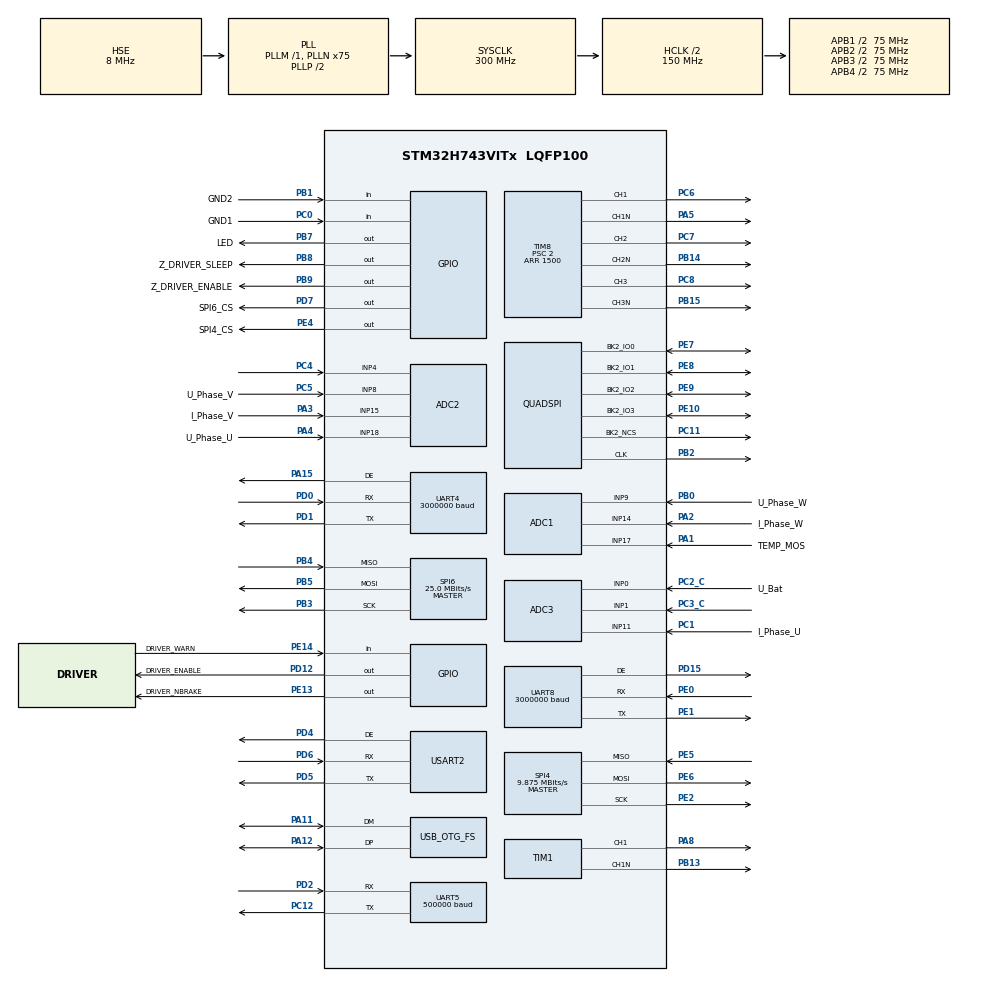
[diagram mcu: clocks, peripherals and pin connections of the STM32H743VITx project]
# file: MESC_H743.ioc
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ADC1.ClockPrescaler=ADC_CLOCK_ASYNC_DIV2
ADC1.ContinuousConvMode=DISABLE
ADC1.EnableInjectedConversion=ENABLE
ADC1.EnableRegularConversion=DISABLE
ADC1.ExternalTrigInjecConv=ADC_EXTERNALTRIGINJEC_T8_TRGO
ADC1.InjNumberOfConversion=3
ADC1.InjectedChannel-2\#ChannelInjectedConversion=ADC_CHANNEL_14
ADC1.InjectedChannel-6\#ChannelInjectedConversion=ADC_CHANNEL_9
ADC1.InjectedChannel-7\#ChannelInjectedConversion=ADC_CHANNEL_17
ADC1.InjectedOffsetNumber-2\#ChannelInjectedConversion=ADC_OFFSET_NONE
ADC1.InjectedOffsetNumber-6\#ChannelInjectedConversion=ADC_OFFSET_NONE
ADC1.InjectedOffsetNumber-7\#ChannelInjectedConversion=ADC_OFFSET_NONE
ADC1.InjectedOffsetSaturation-2\#ChannelInjectedConversion=DISABLE
ADC1.InjectedOffsetSaturation-6\#ChannelInjectedConversion=DISABLE
ADC1.InjectedOffsetSaturation-7\#ChannelInjectedConversion=DISABLE
ADC1.InjectedOffsetSignedSaturation-2\#ChannelInjectedConversion=DISABLE
ADC1.InjectedOffsetSignedSaturation-6\#ChannelInjectedConversion=DISABLE
ADC1.InjectedOffsetSignedSaturation-7\#ChannelInjectedConversion=DISABLE
ADC1.InjectedRank-2\#ChannelInjectedConversion=1
ADC1.InjectedRank-6\#ChannelInjectedConversion=2
ADC1.InjectedRank-7\#ChannelInjectedConversion=3
ADC1.InjectedSamplingTime-2\#ChannelInjectedConversion=ADC_SAMPLETIME_8CYCLES_5
ADC1.InjectedSamplingTime-6\#ChannelInjectedConversion=ADC_SAMPLETIME_8CYCLES_5
ADC1.InjectedSamplingTime-7\#ChannelInjectedConversion=ADC_SAMPLETIME_2CYCLES_5
ADC1.master=1
ADC2.ContinuousConvMode=DISABLE
ADC2.EnableInjectedConversion=ENABLE
ADC2.EnableRegularConversion=DISABLE
ADC2.ExternalTrigInjecConv=ADC_EXTERNALTRIGINJEC_T8_TRGO
ADC2.InjNumberOfConversion=3
ADC2.InjectedChannel-4\#ChannelInjectedConversion=ADC_CHANNEL_15
ADC2.InjectedChannel-5\#ChannelInjectedConversion=ADC_CHANNEL_8
ADC2.InjectedChannel-6\#ChannelInjectedConversion=ADC_CHANNEL_18
ADC2.InjectedOffsetNumber-4\#ChannelInjectedConversion=ADC_OFFSET_NONE
ADC2.InjectedOffsetNumber-5\#ChannelInjectedConversion=ADC_OFFSET_NONE
ADC2.InjectedOffsetNumber-6\#ChannelInjectedConversion=ADC_OFFSET_NONE
ADC2.InjectedOffsetSaturation-4\#ChannelInjectedConversion=DISABLE
ADC2.InjectedOffsetSaturation-5\#ChannelInjectedConversion=DISABLE
ADC2.InjectedOffsetSaturation-6\#ChannelInjectedConversion=DISABLE
ADC2.InjectedOffsetSignedSaturation-4\#ChannelInjectedConversion=DISABLE
ADC2.InjectedOffsetSignedSaturation-5\#ChannelInjectedConversion=DISABLE
ADC2.InjectedOffsetSignedSaturation-6\#ChannelInjectedConversion=DISABLE
ADC2.InjectedRank-4\#ChannelInjectedConversion=1
ADC2.InjectedRank-5\#ChannelInjectedConversion=2
ADC2.InjectedRank-6\#ChannelInjectedConversion=3
ADC2.InjectedSamplingTime-4\#ChannelInjectedConversion=ADC_SAMPLETIME_8CYCLES_5
ADC2.InjectedSamplingTime-5\#ChannelInjectedConversion=ADC_SAMPLETIME_8CYCLES_5
ADC2.InjectedSamplingTime-6\#ChannelInjectedConversion=ADC_SAMPLETIME_8CYCLES_5
ADC3.Channel-0\#ChannelRegularConversion=ADC_CHANNEL_0
ADC3.ClockPrescaler=ADC_CLOCK_ASYNC_DIV2
ADC3.EnableInjectedConversion=ENABLE
ADC3.ExternalTrigInjecConv=ADC_EXTERNALTRIGINJEC_T8_TRGO
ADC3.InjNumberOfConversion=2
ADC3.InjectedChannel-1\#ChannelInjectedConversion=ADC_CHANNEL_11
ADC3.InjectedChannel-2\#ChannelInjectedConversion=ADC_CHANNEL_0
ADC3.InjectedOffsetNumber-1\#ChannelInjectedConversion=ADC_OFFSET_NONE
ADC3.InjectedOffsetNumber-2\#ChannelInjectedConversion=ADC_OFFSET_NONE
ADC3.InjectedOffsetSaturation-1\#ChannelInjectedConversion=DISABLE
ADC3.InjectedOffsetSaturation-2\#ChannelInjectedConversion=DISABLE
ADC3.InjectedOffsetSignedSaturation-1\#ChannelInjectedConversion=DISABLE
ADC3.InjectedOffsetSignedSaturation-2\#ChannelInjectedConversion=DISABLE
ADC3.InjectedRank-1\#ChannelInjectedConversion=1
ADC3.InjectedRank-2\#ChannelInjectedConversion=2
ADC3.InjectedSamplingTime-1\#ChannelInjectedConversion=ADC_SAMPLETIME_8CYCLES_5
ADC3.InjectedSamplingTime-2\#ChannelInjectedConversion=ADC_SAMPLETIME_8CYCLES_5
ADC3.NbrOfConversionFlag=1
ADC3.OffsetNumber-0\#ChannelRegularConversion=ADC_OFFSET_NONE
ADC3.OffsetSignedSaturation-0\#ChannelRegularConversion=DISABLE
ADC3.Rank-0\#ChannelRegularConversion=1
ADC3.SamplingTime-0\#ChannelRegularConversion=ADC_SAMPLETIME_1CYCLE_5
CORTEX_M7.default_mode_Activation=1
Dma.Request0=UART5_RX
Dma.Request1=UART5_TX
Dma.Request2=UART4_RX
Dma.Request3=UART4_TX
Dma.Request4=UART8_RX
Dma.Request5=UART8_TX
Dma.UART4_RX.2.Direction=DMA_PERIPH_TO_MEMORY
Dma.UART4_RX.2.EventEnable=DISABLE
Dma.UART4_RX.2.FIFOMode=DMA_FIFOMODE_DISABLE
Dma.UART4_RX.2.Instance=DMA1_Stream2
Dma.UART4_RX.2.MemDataAlignment=DMA_MDATAALIGN_BYTE
Dma.UART4_RX.2.MemInc=DMA_MINC_ENABLE
Dma.UART4_RX.2.Mode=DMA_NORMAL
Dma.UART4_RX.2.PeriphDataAlignment=DMA_PDATAALIGN_BYTE
Dma.UART4_RX.2.PeriphInc=DMA_PINC_DISABLE
Dma.UART4_RX.2.Polarity=HAL_DMAMUX_REQ_GEN_RISING
Dma.UART4_RX.2.Priority=DMA_PRIORITY_LOW
Dma.UART4_RX.2.RequestNumber=1
Dma.UART4_RX.2.SignalID=NONE
Dma.UART4_RX.2.SyncEnable=DISABLE
Dma.UART4_RX.2.SyncPolarity=HAL_DMAMUX_SYNC_NO_EVENT
Dma.UART4_RX.2.SyncRequestNumber=1
Dma.UART4_RX.2.SyncSignalID=NONE
Dma.UART4_TX.3.Direction=DMA_MEMORY_TO_PERIPH
Dma.UART4_TX.3.EventEnable=DISABLE
Dma.UART4_TX.3.FIFOMode=DMA_FIFOMODE_DISABLE
Dma.UART4_TX.3.Instance=DMA1_Stream3
Dma.UART4_TX.3.MemDataAlignment=DMA_MDATAALIGN_BYTE
Dma.UART4_TX.3.MemInc=DMA_MINC_ENABLE
Dma.UART4_TX.3.Mode=DMA_NORMAL
Dma.UART4_TX.3.PeriphDataAlignment=DMA_PDATAALIGN_BYTE
Dma.UART4_TX.3.PeriphInc=DMA_PINC_DISABLE
Dma.UART4_TX.3.Polarity=HAL_DMAMUX_REQ_GEN_RISING
Dma.UART4_TX.3.Priority=DMA_PRIORITY_LOW
Dma.UART4_TX.3.RequestNumber=1
Dma.UART4_TX.3.SignalID=NONE
Dma.UART4_TX.3.SyncEnable=DISABLE
Dma.UART4_TX.3.SyncPolarity=HAL_DMAMUX_SYNC_NO_EVENT
Dma.UART4_TX.3.SyncRequestNumber=1
Dma.UART4_TX.3.SyncSignalID=NONE
Dma.UART5_RX.0.Direction=DMA_PERIPH_TO_MEMORY
Dma.UART5_RX.0.EventEnable=DISABLE
Dma.UART5_RX.0.FIFOMode=DMA_FIFOMODE_DISABLE
Dma.UART5_RX.0.Instance=DMA1_Stream0
Dma.UART5_RX.0.MemDataAlignment=DMA_MDATAALIGN_BYTE
Dma.UART5_RX.0.MemInc=DMA_MINC_ENABLE
Dma.UART5_RX.0.Mode=DMA_NORMAL
Dma.UART5_RX.0.PeriphDataAlignment=DMA_PDATAALIGN_BYTE
Dma.UART5_RX.0.PeriphInc=DMA_PINC_DISABLE
Dma.UART5_RX.0.Polarity=HAL_DMAMUX_REQ_GEN_RISING
Dma.UART5_RX.0.Priority=DMA_PRIORITY_LOW
Dma.UART5_RX.0.RequestNumber=1
Dma.UART5_RX.0.SignalID=NONE
Dma.UART5_RX.0.SyncEnable=DISABLE
Dma.UART5_RX.0.SyncPolarity=HAL_DMAMUX_SYNC_NO_EVENT
Dma.UART5_RX.0.SyncRequestNumber=1
Dma.UART5_RX.0.SyncSignalID=NONE
Dma.UART5_TX.1.Direction=DMA_MEMORY_TO_PERIPH
Dma.UART5_TX.1.EventEnable=DISABLE
Dma.UART5_TX.1.FIFOMode=DMA_FIFOMODE_DISABLE
Dma.UART5_TX.1.Instance=DMA1_Stream1
Dma.UART5_TX.1.MemDataAlignment=DMA_MDATAALIGN_BYTE
Dma.UART5_TX.1.MemInc=DMA_MINC_ENABLE
Dma.UART5_TX.1.Mode=DMA_NORMAL
Dma.UART5_TX.1.PeriphDataAlignment=DMA_PDATAALIGN_BYTE
Dma.UART5_TX.1.PeriphInc=DMA_PINC_DISABLE
Dma.UART5_TX.1.Polarity=HAL_DMAMUX_REQ_GEN_RISING
Dma.UART5_TX.1.Priority=DMA_PRIORITY_LOW
Dma.UART5_TX.1.RequestNumber=1
Dma.UART5_TX.1.SignalID=NONE
Dma.UART5_TX.1.SyncEnable=DISABLE
Dma.UART5_TX.1.SyncPolarity=HAL_DMAMUX_SYNC_NO_EVENT
Dma.UART5_TX.1.SyncRequestNumber=1
Dma.UART5_TX.1.SyncSignalID=NONE
Dma.UART8_RX.4.Direction=DMA_PERIPH_TO_MEMORY
Dma.UART8_RX.4.EventEnable=DISABLE
Dma.UART8_RX.4.FIFOMode=DMA_FIFOMODE_DISABLE
Dma.UART8_RX.4.Instance=DMA1_Stream4
Dma.UART8_RX.4.MemDataAlignment=DMA_MDATAALIGN_BYTE
Dma.UART8_RX.4.MemInc=DMA_MINC_ENABLE
Dma.UART8_RX.4.Mode=DMA_NORMAL
Dma.UART8_RX.4.PeriphDataAlignment=DMA_PDATAALIGN_BYTE
Dma.UART8_RX.4.PeriphInc=DMA_PINC_DISABLE
Dma.UART8_RX.4.Polarity=HAL_DMAMUX_REQ_GEN_RISING
Dma.UART8_RX.4.Priority=DMA_PRIORITY_LOW
Dma.UART8_RX.4.RequestNumber=1
Dma.UART8_RX.4.SignalID=NONE
Dma.UART8_RX.4.SyncEnable=DISABLE
Dma.UART8_RX.4.SyncPolarity=HAL_DMAMUX_SYNC_NO_EVENT
Dma.UART8_RX.4.SyncRequestNumber=1
Dma.UART8_RX.4.SyncSignalID=NONE
Dma.UART8_TX.5.Direction=DMA_MEMORY_TO_PERIPH
Dma.UART8_TX.5.EventEnable=DISABLE
Dma.UART8_TX.5.FIFOMode=DMA_FIFOMODE_DISABLE
Dma.UART8_TX.5.Instance=DMA1_Stream5
Dma.UART8_TX.5.MemDataAlignment=DMA_MDATAALIGN_BYTE
Dma.UART8_TX.5.MemInc=DMA_MINC_ENABLE
Dma.UART8_TX.5.Mode=DMA_NORMAL
Dma.UART8_TX.5.PeriphDataAlignment=DMA_PDATAALIGN_BYTE
Dma.UART8_TX.5.PeriphInc=DMA_PINC_DISABLE
Dma.UART8_TX.5.Polarity=HAL_DMAMUX_REQ_GEN_RISING
Dma.UART8_TX.5.Priority=DMA_PRIORITY_LOW
Dma.UART8_TX.5.RequestNumber=1
Dma.UART8_TX.5.SignalID=NONE
Dma.UART8_TX.5.SyncEnable=DISABLE
Dma.UART8_TX.5.SyncPolarity=HAL_DMAMUX_SYNC_NO_EVENT
Dma.UART8_TX.5.SyncRequestNumber=1
Dma.UART8_TX.5.SyncSignalID=NONE
Mcu.Family=STM32H7
Mcu.Name=STM32H743VITx
Mcu.Package=LQFP100
NVIC.ADC3_IRQn=true\:2\:0\:true\:false\:true\:true\:true\:true
NVIC.ADC_IRQn=true\:2\:0\:true\:false\:true\:true\:true\:true
NVIC.DMA1_Stream0_IRQn=true\:2\:0\:true\:false\:true\:false\:true\:true
NVIC.DMA1_Stream1_IRQn=true\:2\:0\:true\:false\:true\:false\:true\:true
NVIC.DMA1_Stream2_IRQn=true\:2\:0\:true\:false\:true\:false\:true\:true
NVIC.DMA1_Stream3_IRQn=true\:2\:0\:true\:false\:true\:false\:true\:true
NVIC.DMA1_Stream4_IRQn=true\:2\:0\:true\:false\:true\:false\:true\:true
NVIC.DMA1_Stream5_IRQn=true\:2\:0\:true\:false\:true\:false\:true\:true
NVIC.OTG_FS_IRQn=true\:4\:0\:true\:false\:true\:false\:true\:true
NVIC.PriorityGroup=NVIC_PRIORITYGROUP_4
NVIC.SPI6_IRQn=true\:0\:0\:false\:false\:true\:true\:true\:true
NVIC.TIM3_IRQn=true\:0\:0\:false\:false\:true\:true\:true\:true
NVIC.TIM8_BRK_TIM12_IRQn=true\:0\:0\:false\:false\:true\:true\:true\:true
NVIC.TIM8_CC_IRQn=true\:1\:0\:true\:false\:true\:true\:true\:true
NVIC.TIM8_UP_TIM13_IRQn=true\:0\:0\:false\:false\:true\:true\:true\:true
NVIC.UART4_IRQn=true\:5\:0\:true\:false\:true\:true\:true\:true
NVIC.UART5_IRQn=true\:5\:0\:true\:false\:true\:true\:true\:true
NVIC.UART8_IRQn=true\:5\:0\:true\:false\:true\:true\:true\:true
PA1.GPIO_Label=TEMP_MOS
PA1.Mode=IN17-Single-Ended
PA1.Signal=ADC1_INP17
PA11.Mode=Device_Only
PA11.Signal=USB_OTG_FS_DM
PA12.Mode=Device_Only
PA12.Signal=USB_OTG_FS_DP
PA13\ (JTMS/SWDIO).Mode=Serial_Wire
PA13\ (JTMS/SWDIO).Signal=DEBUG_JTMS-SWDIO
PA14\ (JTCK/SWCLK).Mode=Serial_Wire
PA14\ (JTCK/SWCLK).Signal=DEBUG_JTCK-SWCLK
PA15\ (JTDI).Mode=Hardware Flow Control (RS485)
PA15\ (JTDI).Signal=UART4_DE
PA2.GPIO_Label=I_Phase_W
PA2.Signal=ADCx_INP14
PA3.GPIO_Label=I_Phase_V
PA3.Signal=ADCx_INP15
PA4.GPIO_Label=U_Phase_U
PA4.Signal=ADCx_INP18
PA5.Mode=PWM Generation1 CH1 CH1N
PA5.Signal=TIM8_CH1N
PA6.GPIO_Label=DRIVER_FAULT
PA6.Signal=TIM8_BKIN
PA8.Signal=S_TIM1_CH1
PA9.Signal=USB_OTG_FS_VBUS
PB0.GPIO_Label=U_Phase_W
PB0.Signal=ADCx_INP9
PB1.GPIO_Label=GND2
PB1.Signal=GPIO_Input
PB12.Signal=TIM1_BKIN
PB13.Mode=PWM Generation1 CH1 CH1N
PB13.Signal=TIM1_CH1N
PB14.Mode=PWM Generation2 CH2 CH2N
PB14.Signal=TIM8_CH2N
PB15.Mode=PWM Generation3 CH3 CH3N
PB15.Signal=TIM8_CH3N
PB2.Mode=Single Bank 2
PB2.Signal=QUADSPI_CLK
PB3\ (JTDO/TRACESWO).GPIO_Speed=GPIO_SPEED_FREQ_MEDIUM
PB3\ (JTDO/TRACESWO).Mode=Full_Duplex_Master
PB3\ (JTDO/TRACESWO).Signal=SPI6_SCK
PB4\ (NJTRST).GPIO_Speed=GPIO_SPEED_FREQ_MEDIUM
PB4\ (NJTRST).Mode=Full_Duplex_Master
PB4\ (NJTRST).Signal=SPI6_MISO
PB5.GPIO_Speed=GPIO_SPEED_FREQ_MEDIUM
PB5.Mode=Full_Duplex_Master
PB5.Signal=SPI6_MOSI
PB7.GPIO_Label=LED
PB7.Signal=GPIO_Output
PB8.GPIO_Label=Z_DRIVER_SLEEP
PB8.Signal=GPIO_Output
PB9.GPIO_Label=Z_DRIVER_ENABLE
PB9.Signal=GPIO_Output
PC0.GPIO_Label=GND1
PC0.Signal=GPIO_Input
PC1.GPIO_Label=I_Phase_U
PC1.Signal=ADCx_INP11
PC11.Mode=Single Bank 2
PC11.Signal=QUADSPI_BK2_NCS
PC12.Mode=Asynchronous
PC12.Signal=UART5_TX
PC14-OSC32_IN\ (OSC32_IN).Mode=LSE-External-Clock-Source
PC14-OSC32_IN\ (OSC32_IN).Signal=RCC_OSC32_IN
PC2_C.GPIO_Label=U_Bat
PC2_C.Mode=IN0-Single-Ended
PC2_C.Signal=ADC3_INP0
PC3_C.Mode=IN1-Single-Ended
PC3_C.Signal=ADC3_INP1
PC4.Signal=ADCx_INP4
PC5.GPIO_Label=U_Phase_V
PC5.Signal=ADCx_INP8
PC6.Signal=S_TIM8_CH1
PC7.Signal=S_TIM8_CH2
PC8.Signal=S_TIM8_CH3
PC9.Signal=S_TIM3_CH4
PD0.Mode=Asynchronous
PD0.Signal=UART4_RX
PD1.Mode=Asynchronous
PD1.Signal=UART4_TX
PD12.GPIO_Label=DRIVER_ENABLE
PD12.Signal=GPIO_Output
PD15.Mode=Hardware Flow Control (RS485)
PD15.Signal=UART8_DE
PD2.Mode=Asynchronous
PD2.Signal=UART5_RX
PD4.Mode=Hardware Flow Control (RS485)
PD4.Signal=USART2_DE
PD5.Mode=Asynchronous
PD5.Signal=USART2_TX
PD6.Mode=Asynchronous
PD6.Signal=USART2_RX
PD7.GPIO_Label=SPI6_CS
PD7.Signal=GPIO_Output
PE0.Mode=Asynchronous
PE0.Signal=UART8_RX
PE1.Mode=Asynchronous
PE1.Signal=UART8_TX
PE10.Mode=Single Bank 2
PE10.Signal=QUADSPI_BK2_IO3
PE13.GPIO_Label=DRIVER_NBRAKE
PE13.Signal=GPIO_Output
PE14.GPIO_Label=DRIVER_WARN
PE14.Signal=GPIO_Input
PE2.Mode=Full_Duplex_Master
PE2.Signal=SPI4_SCK
PE4.GPIO_Label=SPI4_CS
PE4.Signal=GPIO_Output
PE5.Mode=Full_Duplex_Master
PE5.Signal=SPI4_MISO
PE6.Mode=Full_Duplex_Master
PE6.Signal=SPI4_MOSI
PE7.Mode=Single Bank 2
PE7.Signal=QUADSPI_BK2_IO0
PE8.Mode=Single Bank 2
PE8.Signal=QUADSPI_BK2_IO1
PE9.Mode=Single Bank 2
PE9.Signal=QUADSPI_BK2_IO2
PH0-OSC_IN\ (PH0).Mode=HSE-External-Oscillator
PH0-OSC_IN\ (PH0).Signal=RCC_OSC_IN
PH1-OSC_OUT\ (PH1).Mode=HSE-External-Oscillator
PH1-OSC_OUT\ (PH1).Signal=RCC_OSC_OUT
ProjectManager.HeapSize=0x200
ProjectManager.StackSize=0x400
ProjectManager.TargetToolchain=STM32CubeIDE
RCC.ADCFreq_Value=79000000
RCC.APB1Freq_Value=75000000
RCC.APB2Freq_Value=75000000
RCC.APB3Freq_Value=75000000
RCC.APB4Freq_Value=75000000
RCC.CortexFreq_Value=300000000
RCC.D1PPRE=RCC_APB3_DIV2
RCC.D2PPRE1=RCC_APB1_DIV2
RCC.D2PPRE2=RCC_APB2_DIV2
RCC.D3PPRE=RCC_APB4_DIV2
RCC.DIVM1=1
RCC.DIVM2=1
RCC.DIVM3=1
RCC.DIVN1=75
RCC.DIVN2=19
RCC.DIVN3=25
RCC.DIVQ1=10
RCC.DIVQ2=4
RCC.DIVQ3=4
RCC.HCLKFreq_Value=150000000
RCC.HPRE=RCC_HCLK_DIV2
RCC.HSE_VALUE=8000000
RCC.PLL1_VCI_Range-AdvancedSettings=RCC_PLL1VCIRANGE_0
RCC.PLL2FRACN=6144
RCC.PLL2_VCI_Range-AdvancedSettings=RCC_PLL2VCIRANGE_0
RCC.PLL3FRACN=0
RCC.PLL3_VCO_SEL-AdvancedSettings=RCC_PLL3VCOMEDIUM
RCC.PLLFRACN=0
RCC.SPI6CLockSelection=RCC_SPI6CLKSOURCE_PLL3
RCC.SYSCLKFreq_VALUE=300000000
RCC.SYSCLKSource=RCC_SYSCLKSOURCE_PLLCLK
RCC.Spi45ClockSelection=RCC_SPI45CLKSOURCE_PLL2
RCC.USBFreq_Value=60000000
SH.ADCx_INP11.0=ADC3_INP11,IN11-Single-Ended
SH.ADCx_INP14.0=ADC1_INP14,IN14-Single-Ended
SH.ADCx_INP15.0=ADC2_INP15,IN15-Single-Ended
SH.ADCx_INP18.0=ADC2_INP18,IN18-Single-Ended
SH.ADCx_INP4.0=ADC2_INP4,IN4-Single-Ended
SH.ADCx_INP8.0=ADC2_INP8,IN8-Single-Ended
SH.ADCx_INP9.0=ADC1_INP9,IN9-Single-Ended
SH.S_TIM1_CH1.0=TIM1_CH1,PWM Generation1 CH1 CH1N
SH.S_TIM3_CH4.0=TIM3_CH4
SH.S_TIM8_CH1.0=TIM8_CH1,PWM Generation1 CH1 CH1N
SH.S_TIM8_CH2.0=TIM8_CH2,PWM Generation2 CH2 CH2N
SH.S_TIM8_CH3.0=TIM8_CH3,PWM Generation3 CH3 CH3N
SPI4.BaudRatePrescaler=SPI_BAUDRATEPRESCALER_4
SPI4.CLKPhase=SPI_PHASE_2EDGE
SPI4.CLKPolarity=SPI_POLARITY_LOW
SPI4.CalculateBaudRate=9.875 MBits/s
SPI4.DataSize=SPI_DATASIZE_8BIT
SPI4.Direction=SPI_DIRECTION_2LINES
SPI4.Mode=SPI_MODE_MASTER
SPI4.VirtualType=VM_MASTER
SPI6.BaudRatePrescaler=SPI_BAUDRATEPRESCALER_2
SPI6.CLKPhase=SPI_PHASE_2EDGE
SPI6.CLKPolarity=SPI_POLARITY_HIGH
SPI6.CalculateBaudRate=25.0 MBits/s
SPI6.DataSize=SPI_DATASIZE_16BIT
SPI6.Direction=SPI_DIRECTION_2LINES
SPI6.Mode=SPI_MODE_MASTER
SPI6.VirtualType=VM_MASTER
TIM1.AutomaticOutput=TIM_AUTOMATICOUTPUT_ENABLE
TIM1.Channel-PWM\ Generation1\ CH1\ CH1N=TIM_CHANNEL_1
TIM1.OffStateIDLEMode=TIM_OSSI_ENABLE
TIM2.Channel-PWM\ Generation1\ No\ Output=TIM_CHANNEL_1
TIM2.Prescaler=149
TIM3.Channel-PWM\ Generation1\ No\ Output=TIM_CHANNEL_1
TIM3.Period=9999
TIM3.Prescaler=149
TIM8.AutomaticOutput=TIM_AUTOMATICOUTPUT_DISABLE
TIM8.Break2Polarity=TIM_BREAK2POLARITY_LOW
TIM8.BreakPolarity=TIM_BREAKPOLARITY_LOW
TIM8.BreakState=TIM_BREAK_DISABLE
TIM8.Channel-PWM\ Generation1\ CH1\ CH1N=TIM_CHANNEL_1
TIM8.Channel-PWM\ Generation2\ CH2\ CH2N=TIM_CHANNEL_2
TIM8.Channel-PWM\ Generation3\ CH3\ CH3N=TIM_CHANNEL_3
TIM8.Channel-PWM\ Generation4\ No\ Output=TIM_CHANNEL_4
TIM8.CounterMode=TIM_COUNTERMODE_CENTERALIGNED1
TIM8.OCNPolarity_1=TIM_OCNPOLARITY_HIGH
TIM8.OCPolarity_1=TIM_OCPOLARITY_HIGH
TIM8.OCPolarity_2=TIM_OCPOLARITY_HIGH
TIM8.OffStateIDLEMode=TIM_OSSI_ENABLE
TIM8.OffStateRunMode=TIM_OSSR_ENABLE
TIM8.Period=1500
TIM8.Prescaler=2
TIM8.TIM_MasterOutputTrigger=TIM_TRGO_OC4REF
UART4.BaudRate=3000000
UART5.BaudRate=500000
UART8.BaudRate=3000000
USART2.VirtualMode-Asynchronous=VM_ASYNC
USART2.VirtualMode-Hardware\ Flow\ Control\ (RS485)=VM_ASYNC
USB_DEVICE.CLASS_NAME_FS=CDC
USB_DEVICE.VirtualMode-CDC_FS=Cdc
USB_DEVICE.VirtualModeFS=Cdc_FS
USB_OTG_FS.VirtualMode=Device_Only
VP_MEMORYMAP_VS_MEMORYMAP.Mode=CurAppReg
VP_TIM2_VS_no_output1.Mode=PWM Generation1 No Output
VP_TIM3_VS_ClockSourceINT.Mode=Internal
VP_TIM3_VS_no_output1.Mode=PWM Generation1 No Output
VP_TIM4_VS_ClockSourceINT.Mode=Internal
VP_TIM8_VS_ClockSourceINT.Mode=Internal
VP_TIM8_VS_no_output4.Mode=PWM Generation4 No Output
VP_USB_DEVICE_VS_USB_DEVICE_CDC_FS.Mode=CDC_FS
board=custom

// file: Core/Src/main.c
/* USER CODE BEGIN Header */
/**
 ******************************************************************************
 * @file           : main.c
 * @brief          : Main program body
 ******************************************************************************
 * @attention
 *
 * Copyright (c) 2024 STMicroelectronics.
 * All rights reserved.
 *
 * This software is licensed under terms that can be found in the LICENSE file
 * in the root directory of this software component.
 * If no LICENSE file comes with this software, it is provided AS-IS.
 *
 ******************************************************************************
 */

/* USER CODE END Header */
#include "main.h"
#include "adc.h"
#include "dma.h"
#include "memorymap.h"
#include "quadspi.h"
#include "spi.h"
#include "tim.h"
#include "usart.h"
#include "usb_device.h"
#include "gpio.h"

/* USER CODE BEGIN Includes */
#include "./infineon_6EDL7141.h"
#include "us_time.h"

#include "MESCprofile.h"
#include "MESCmotor.h"
#include "MESCtemp.h"
#include "MESCfoc.h"

#include "MESCuart.h"
#include "Simple_coms.h"
/* USER CODE END Includes */

void SystemClock_Config(void);
void PeriphCommonClock_Config(void);
static void MPU_Config(void);

int main(void) {

	/* MPU Configuration--------------------------------------------------------*/
	MPU_Config();

	/* MCU Configuration--------------------------------------------------------*/

	/* Reset of all peripherals, Initializes the Flash interface and the Systick. */
	HAL_Init();

	/* Configure the system clock */
	SystemClock_Config();

	/* Configure the peripherals common clocks */
	PeriphCommonClock_Config();

	/* Initialize all configured peripherals */
	MX_GPIO_Init();
	MX_DMA_Init();
	MX_ADC3_Init();
	MX_QUADSPI_Init();
	MX_SPI4_Init();
	MX_SPI6_Init();
	MX_TIM1_Init();
	MX_TIM3_Init();
	MX_TIM4_Init();
	MX_TIM8_Init();
	MX_UART4_Init();
	MX_UART5_Init();
	MX_UART8_Init();
	MX_USART2_UART_Init();
	MX_TIM2_Init();
	MX_ADC2_Init();
	MX_USB_DEVICE_Init();
	MX_ADC1_Init();
	/* USER CODE BEGIN 2 */
	//Set motor timer
	mtr[0].mtimer = &htim8;
	mtr[0].stimer = &htim3;

	HAL_NVIC_EnableIRQ(DMA1_Stream0_IRQn);
	HAL_NVIC_EnableIRQ(DMA1_Stream1_IRQn);
	HAL_NVIC_EnableIRQ(UART5_IRQn);
	us_time_init();
	HAL_GPIO_LockPin(GND1_GPIO_Port, GND1_Pin);
	HAL_GPIO_LockPin(GND2_GPIO_Port, GND2_Pin);
	//printf(" BOOT successful!\n");
	struct _6EDL7141_driver driver_hw;
	struct _6EDL7141_stat driver_status;
	struct _6EDL7141_config driver_config;
	driver_hw.CS_PIN = SPI4_CS_Pin;
	driver_hw.GPI_PORT = SPI4_CS_GPIO_Port;
	driver_hw.SPI_Handle = hspi4;
	driver_hw.ENABLE_PIN = DRIVER_ENABLE_Pin;
	driver_hw.ENABLE_GPIO_PORT = DRIVER_ENABLE_GPIO_Port;
	driver_hw.NBRAKE_PIN = DRIVER_NBRAKE_Pin;
	driver_hw.NBRAKE_PORT = DRIVER_NBRAKE_GPIO_Port;
	int reslt = Infineon6EDL7141Driver_init(&driver_hw, &driver_status,
			&driver_config);
	Infineon6EDL7141Driver_setCSAMPgain(&driver_hw, &driver_config, _12X);
	Infineon6EDL7141Driver_setDeadTime(&driver_hw, &driver_config, 5);
	if (reslt == 0) Infineon6EDL7141Driver_ENABLE(&driver_hw);

	uart_init();

	motor_init(NULL);
	MESCInit(&mtr[0]);

	/* USER CODE END 2 */

	/* Infinite loop */
	while (1) {

	}
}

void SystemClock_Config(void) {
	RCC_OscInitTypeDef RCC_OscInitStruct = { 0 };
	RCC_ClkInitTypeDef RCC_ClkInitStruct = { 0 };

	/** Supply configuration update enable
	 */
	HAL_PWREx_ConfigSupply(PWR_LDO_SUPPLY);

	/** Configure the main internal regulator output voltage
	 */
	__HAL_PWR_VOLTAGESCALING_CONFIG(PWR_REGULATOR_VOLTAGE_SCALE2);

	while (!__HAL_PWR_GET_FLAG(PWR_FLAG_VOSRDY)) {
	}

	/** Initializes the RCC Oscillators according to the specified parameters
	 * in the RCC_OscInitTypeDef structure.
	 */
	RCC_OscInitStruct.OscillatorType = RCC_OSCILLATORTYPE_HSE;
	RCC_OscInitStruct.HSEState = RCC_HSE_ON;
	RCC_OscInitStruct.PLL.PLLState = RCC_PLL_ON;
	RCC_OscInitStruct.PLL.PLLSource = RCC_PLLSOURCE_HSE;
	RCC_OscInitStruct.PLL.PLLM = 1;
	RCC_OscInitStruct.PLL.PLLN = 75;
	RCC_OscInitStruct.PLL.PLLP = 2;
	RCC_OscInitStruct.PLL.PLLQ = 10;
	RCC_OscInitStruct.PLL.PLLR = 2;
	RCC_OscInitStruct.PLL.PLLRGE = RCC_PLL1VCIRANGE_3;
	RCC_OscInitStruct.PLL.PLLVCOSEL = RCC_PLL1VCOWIDE;
	RCC_OscInitStruct.PLL.PLLFRACN = 0;
	if (HAL_RCC_OscConfig(&RCC_OscInitStruct) != HAL_OK) {
		Error_Handler();
	}

	/** Initializes the CPU, AHB and APB buses clocks
	 */
	RCC_ClkInitStruct.ClockType = RCC_CLOCKTYPE_HCLK | RCC_CLOCKTYPE_SYSCLK
			| RCC_CLOCKTYPE_PCLK1 | RCC_CLOCKTYPE_PCLK2 | RCC_CLOCKTYPE_D3PCLK1
			| RCC_CLOCKTYPE_D1PCLK1;
	RCC_ClkInitStruct.SYSCLKSource = RCC_SYSCLKSOURCE_PLLCLK;
	RCC_ClkInitStruct.SYSCLKDivider = RCC_SYSCLK_DIV1;
	RCC_ClkInitStruct.AHBCLKDivider = RCC_HCLK_DIV2;
	RCC_ClkInitStruct.APB3CLKDivider = RCC_APB3_DIV2;
	RCC_ClkInitStruct.APB1CLKDivider = RCC_APB1_DIV2;
	RCC_ClkInitStruct.APB2CLKDivider = RCC_APB2_DIV2;
	RCC_ClkInitStruct.APB4CLKDivider = RCC_APB4_DIV2;

	if (HAL_RCC_ClockConfig(&RCC_ClkInitStruct, FLASH_LATENCY_2) != HAL_OK) {
		Error_Handler();
	}
}

void PeriphCommonClock_Config(void) {
	RCC_PeriphCLKInitTypeDef PeriphClkInitStruct = { 0 };

	/** Initializes the peripherals clock
	 */
	PeriphClkInitStruct.PeriphClockSelection = RCC_PERIPHCLK_ADC
			| RCC_PERIPHCLK_SPI4;
	PeriphClkInitStruct.PLL2.PLL2M = 1;
	PeriphClkInitStruct.PLL2.PLL2N = 19;
	PeriphClkInitStruct.PLL2.PLL2P = 2;
	PeriphClkInitStruct.PLL2.PLL2Q = 4;
	PeriphClkInitStruct.PLL2.PLL2R = 2;
	PeriphClkInitStruct.PLL2.PLL2RGE = RCC_PLL2VCIRANGE_3;
	PeriphClkInitStruct.PLL2.PLL2VCOSEL = RCC_PLL2VCOMEDIUM;
	PeriphClkInitStruct.PLL2.PLL2FRACN = 6144;
	PeriphClkInitStruct.Spi45ClockSelection = RCC_SPI45CLKSOURCE_PLL2;
	PeriphClkInitStruct.AdcClockSelection = RCC_ADCCLKSOURCE_PLL2;
	if (HAL_RCCEx_PeriphCLKConfig(&PeriphClkInitStruct) != HAL_OK) {
		Error_Handler();
	}
}

/* MPU Configuration */

void MPU_Config(void) {
	MPU_Region_InitTypeDef MPU_InitStruct = { 0 };

	/* Disables the MPU */
	HAL_MPU_Disable();

	/** Initializes and configures the Region and the memory to be protected
	 */
	MPU_InitStruct.Enable = MPU_REGION_ENABLE;
	MPU_InitStruct.Number = MPU_REGION_NUMBER0;
	MPU_InitStruct.BaseAddress = 0x0;
	MPU_InitStruct.Size = MPU_REGION_SIZE_4GB;
	MPU_InitStruct.SubRegionDisable = 0x87;
	MPU_InitStruct.TypeExtField = MPU_TEX_LEVEL0;
	MPU_InitStruct.AccessPermission = MPU_REGION_NO_ACCESS;
	MPU_InitStruct.DisableExec = MPU_INSTRUCTION_ACCESS_DISABLE;
	MPU_InitStruct.IsShareable = MPU_ACCESS_SHAREABLE;
	MPU_InitStruct.IsCacheable = MPU_ACCESS_NOT_CACHEABLE;
	MPU_InitStruct.IsBufferable = MPU_ACCESS_NOT_BUFFERABLE;

	HAL_MPU_ConfigRegion(&MPU_InitStruct);
	/* Enables the MPU */
	HAL_MPU_Enable(MPU_PRIVILEGED_DEFAULT);

}

void Error_Handler(void) {
	__disable_irq();
	while (1) {
	}
}
